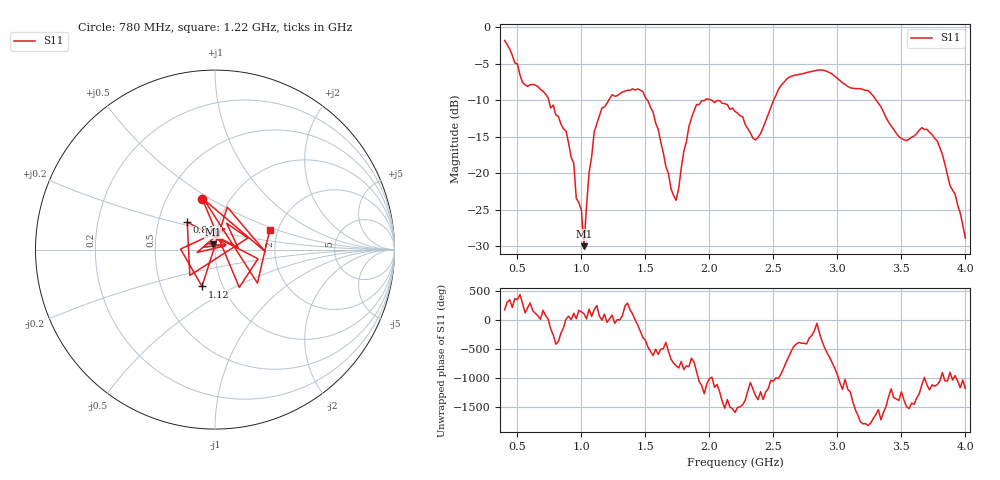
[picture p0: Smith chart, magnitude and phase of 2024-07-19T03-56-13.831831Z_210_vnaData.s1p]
!Created with skrf (http://scikit-rf.org).
# Hz S RI R 50.0
!freq ReS11 ImS11
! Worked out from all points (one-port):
!   181 points, 400 MHz to 4 GHz, reference 50 ohm
!   lowest |S11| = -30.0 dB at 1.02 GHz (marker M1), VSWR 1.07, Z = 48.8 + j2.9 ohm
!   |S11| at or under -10 dB: 744.8 MHz to 1.213 GHz (468.6 MHz wide, 47.9 % of centre); 2.019 GHz to 2.502 GHz (482.4 MHz wide, 21.3 % of centre); 3.303 GHz to end of sweep (the widest 3 of 4)
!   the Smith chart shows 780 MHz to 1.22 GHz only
!   S11 on the Smith chart (normalised r, x): 780 MHz: 0.74, +0.46; 840 MHz: 0.70, +0.23; 1.12 GHz: 0.80, -0.34; 1.22 GHz: 1.81, +0.44
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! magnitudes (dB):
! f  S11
! 400 MHz  -1.8
! 540 MHz  -7.6
! 780 MHz  -10.7
! 840 MHz  -13.3
! 860 MHz  -13.9
! 940 MHz  -18.6
! 960 MHz  -23.5
! 1 GHz  -25.1
! 1.02 GHz  -30.0
! 1.06 GHz  -19.9
! 1.12 GHz  -13.2
! 1.22 GHz  -9.8
! 1.3 GHz  -9.1
! 1.48 GHz  -8.8
! 1.6 GHz  -14.0
! 1.7 GHz  -22.2
! 1.76 GHz  -22.1
! 1.84 GHz  -13.6
! 1.9 GHz  -10.6
! 2.2 GHz  -11.5
! 2.36 GHz  -15.5
! 2.66 GHz  -6.6
! 3.1 GHz  -8.3
! 3.24 GHz  -8.7
! 3.56 GHz  -15.3
! 3.66 GHz  -13.8
! 3.78 GHz  -15.6
! 4 GHz  -28.9
